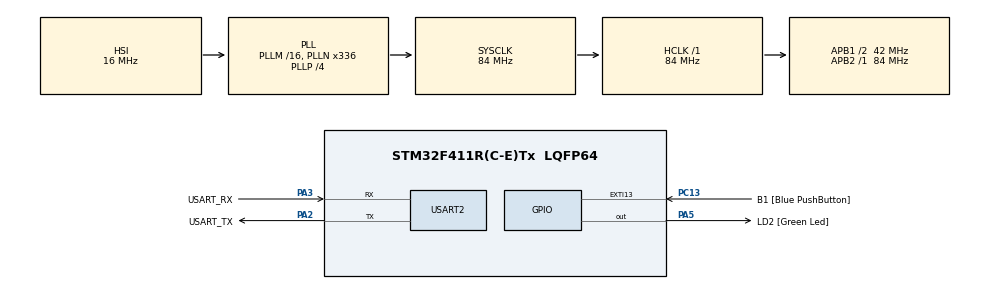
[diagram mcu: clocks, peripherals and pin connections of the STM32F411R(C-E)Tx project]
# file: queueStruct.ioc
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FREERTOS.Tasks01=defaultTask,0,128,StartDefaultTask,Default,NULL
Mcu.Family=STM32F4
Mcu.Name=STM32F411R(C-E)Tx
Mcu.Package=LQFP64
NVIC.PriorityGroup=NVIC_PRIORITYGROUP_4
NVIC.TIM1_UP_TIM10_IRQn=true\:0\:0\:false\:false\:true\:false\:false
NVIC.TimeBase=TIM1_UP_TIM10_IRQn
NVIC.TimeBaseIP=TIM1
PA13.GPIO_Label=TMS
PA13.Mode=Serial_Wire
PA13.Signal=SYS_JTMS-SWDIO
PA14.GPIO_Label=TCK
PA14.Mode=Serial_Wire
PA14.Signal=SYS_JTCK-SWCLK
PA2.GPIO_Label=USART_TX
PA2.Mode=Asynchronous
PA2.Signal=USART2_TX
PA3.GPIO_Label=USART_RX
PA3.Mode=Asynchronous
PA3.Signal=USART2_RX
PA5.GPIO_Label=LD2 [Green Led]
PA5.Signal=GPIO_Output
PB3.Signal=SYS_JTDO-SWO
PC13-ANTI_TAMP.GPIO_Label=B1 [Blue PushButton]
PC13-ANTI_TAMP.GPIO_ModeDefaultEXTI=GPIO_MODE_IT_FALLING
PC13-ANTI_TAMP.Signal=GPXTI13
PC14-OSC32_IN.Mode=LSE-External-Oscillator
PC14-OSC32_IN.Signal=RCC_OSC32_IN
PC15-OSC32_OUT.Mode=LSE-External-Oscillator
PC15-OSC32_OUT.Signal=RCC_OSC32_OUT
PH0\ -\ OSC_IN.Mode=HSE-External-Clock-Source
PH0\ -\ OSC_IN.Signal=RCC_OSC_IN
PH1\ -\ OSC_OUT.Mode=HSE-External-Clock-Source
PH1\ -\ OSC_OUT.Signal=RCC_OSC_OUT
ProjectManager.HeapSize=0x200
ProjectManager.StackSize=0x400
ProjectManager.TargetToolchain=SW4STM32
RCC.48MHZClocksFreq_Value=84000000
RCC.AHBFreq_Value=84000000
RCC.APB1CLKDivider=RCC_HCLK_DIV2
RCC.APB1Freq_Value=42000000
RCC.APB1TimFreq_Value=84000000
RCC.APB2Freq_Value=84000000
RCC.APB2TimFreq_Value=84000000
RCC.CortexFreq_Value=84000000
RCC.FLatency-AdvancedSettings=FLASH_LATENCY_2
RCC.HCLKFreq_Value=84000000
RCC.HSE_VALUE=8000000
RCC.HSI_VALUE=16000000
RCC.PLLN=336
RCC.PLLP=RCC_PLLP_DIV4
RCC.SYSCLKFreq_VALUE=84000000
RCC.SYSCLKSource=RCC_SYSCLKSOURCE_PLLCLK
RCC.VCOOutputFreq_Value=336000000
USART2.VirtualMode=VM_ASYNC
VP_FREERTOS_VS_ENABLE.Mode=Enabled
VP_SYS_VS_tim1.Mode=TIM1
board=NUCLEO-F411RE

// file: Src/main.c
/**
  ******************************************************************************
  * @file           : main.c
  * @brief          : Main program body
  ******************************************************************************
  * This notice applies to any and all portions of this file
  * that are not between comment pairs USER CODE BEGIN and
  * USER CODE END. Other portions of this file, whether
  * inserted by the user or by software development tools
  * are owned by their respective copyright owners.
  *
  * Copyright (c) 2018 STMicroelectronics International N.V.
  * All rights reserved.
  *
  * Redistribution and use in source and binary forms, with or without
  * modification, are permitted, provided that the following conditions are met:
  *
  * 1. Redistribution of source code must retain the above copyright notice,
  *    this list of conditions and the following disclaimer.
  * 2. Redistributions in binary form must reproduce the above copyright notice,
  *    this list of conditions and the following disclaimer in the documentation
  *    and/or other materials provided with the distribution.
  * 3. Neither the name of STMicroelectronics nor the names of other
  *    contributors to this software may be used to endorse or promote products
  *    derived from this software without specific written permission.
  * 4. This software, including modifications and/or derivative works of this
  *    software, must execute solely and exclusively on microcontroller or
  *    microprocessor devices manufactured by or for STMicroelectronics.
  * 5. Redistribution and use of this software other than as permitted under
  *    this license is void and will automatically terminate your rights under
  *    this license.
  *
  * THIS SOFTWARE IS PROVIDED BY STMICROELECTRONICS AND CONTRIBUTORS "AS IS"
  * AND ANY EXPRESS, IMPLIED OR STATUTORY WARRANTIES, INCLUDING, BUT NOT
  * LIMITED TO, THE IMPLIED WARRANTIES OF MERCHANTABILITY, FITNESS FOR A
  * PARTICULAR PURPOSE AND NON-INFRINGEMENT OF THIRD PARTY INTELLECTUAL PROPERTY
  * RIGHTS ARE DISCLAIMED TO THE FULLEST EXTENT PERMITTED BY LAW. IN NO EVENT
  * SHALL STMICROELECTRONICS OR CONTRIBUTORS BE LIABLE FOR ANY DIRECT, INDIRECT,
  * INCIDENTAL, SPECIAL, EXEMPLARY, OR CONSEQUENTIAL DAMAGES (INCLUDING, BUT NOT
  * LIMITED TO, PROCUREMENT OF SUBSTITUTE GOODS OR SERVICES; LOSS OF USE, DATA,
  * OR PROFITS; OR BUSINESS INTERRUPTION) HOWEVER CAUSED AND ON ANY THEORY OF
  * LIABILITY, WHETHER IN CONTRACT, STRICT LIABILITY, OR TORT (INCLUDING
  * NEGLIGENCE OR OTHERWISE) ARISING IN ANY WAY OUT OF THE USE OF THIS SOFTWARE,
  * EVEN IF ADVISED OF THE POSSIBILITY OF SUCH DAMAGE.
  *
  ******************************************************************************
  */
#include "main.h"
#include "stm32f4xx_hal.h"
#include "cmsis_os.h"

/* USER CODE BEGIN Includes */
#include "IL_debug.h"
#include <string.h>
/* USER CODE END Includes */

UART_HandleTypeDef huart2;

osThreadId defaultTaskHandle;

/* USER CODE BEGIN PV */
/* Private variables ---------------------------------------------------------*/

/* USER CODE END PV */

void SystemClock_Config(void);
static void MX_GPIO_Init(void);
static void MX_USART2_UART_Init(void);
void StartDefaultTask(void const * argument);

/* USER CODE BEGIN PFP */
/* Private function prototypes -----------------------------------------------*/

/* USER CODE END PFP */

/* USER CODE BEGIN 0 */
typedef struct {
	uint8_t ucValue;
	uint8_t ucSource;
}xData;

static const xData xStructsToSend [ 2 ] =
{
		{100, 1},
		{200, 2}
};

xQueueHandle xQueue;

void receiver (void * arg);
void sender (void * arg);
/* USER CODE END 0 */

int main(void)
{

  /* MCU Configuration----------------------------------------------------------*/

  /* Reset of all peripherals, Initializes the Flash interface and the Systick. */
  HAL_Init();

  /* Configure the system clock */
  SystemClock_Config();

  /* Initialize all configured peripherals */
  MX_GPIO_Init();
  MX_USART2_UART_Init();

  /* Create the thread(s) */
  /* definition and creation of defaultTask */
  osThreadDef(defaultTask, StartDefaultTask, osPriorityNormal, 0, 128);
  defaultTaskHandle = osThreadCreate(osThread(defaultTask), NULL);

  /* USER CODE BEGIN RTOS_QUEUES */
  /* add queues, ... */
  xQueue = xQueueCreate(3, sizeof(xData));
  if( xQueue != NULL)
  {
	  xTaskCreate(sender, "Send1", 256, &(xStructsToSend [ 0 ] ), 2, NULL);
	  xTaskCreate(sender, "Send2", 256, &(xStructsToSend [ 1 ] ), 2, NULL);
	  xTaskCreate(receiver, "Receiver", 256, NULL, 1, NULL);
  } else
  {
	  char * err = " Error \n";
	  _write(err, strlen(err));
  }

  /* USER CODE END RTOS_QUEUES */

  /* Start scheduler */
  osKernelStart();

  /* We should never get here as control is now taken by the scheduler */

  /* Infinite loop */
  while (1)
  {

  }

}

void SystemClock_Config(void)
{

  RCC_OscInitTypeDef RCC_OscInitStruct;
  RCC_ClkInitTypeDef RCC_ClkInitStruct;

    /**Configure the main internal regulator output voltage
    */
  __HAL_RCC_PWR_CLK_ENABLE();

  __HAL_PWR_VOLTAGESCALING_CONFIG(PWR_REGULATOR_VOLTAGE_SCALE1);

    /**Initializes the CPU, AHB and APB busses clocks
    */
  RCC_OscInitStruct.OscillatorType = RCC_OSCILLATORTYPE_HSI;
  RCC_OscInitStruct.HSIState = RCC_HSI_ON;
  RCC_OscInitStruct.HSICalibrationValue = 16;
  RCC_OscInitStruct.PLL.PLLState = RCC_PLL_ON;
  RCC_OscInitStruct.PLL.PLLSource = RCC_PLLSOURCE_HSI;
  RCC_OscInitStruct.PLL.PLLM = 16;
  RCC_OscInitStruct.PLL.PLLN = 336;
  RCC_OscInitStruct.PLL.PLLP = RCC_PLLP_DIV4;
  RCC_OscInitStruct.PLL.PLLQ = 4;
  if (HAL_RCC_OscConfig(&RCC_OscInitStruct) != HAL_OK)
  {
    _Error_Handler(__FILE__, __LINE__);
  }

    /**Initializes the CPU, AHB and APB busses clocks
    */
  RCC_ClkInitStruct.ClockType = RCC_CLOCKTYPE_HCLK|RCC_CLOCKTYPE_SYSCLK
                              |RCC_CLOCKTYPE_PCLK1|RCC_CLOCKTYPE_PCLK2;
  RCC_ClkInitStruct.SYSCLKSource = RCC_SYSCLKSOURCE_PLLCLK;
  RCC_ClkInitStruct.AHBCLKDivider = RCC_SYSCLK_DIV1;
  RCC_ClkInitStruct.APB1CLKDivider = RCC_HCLK_DIV2;
  RCC_ClkInitStruct.APB2CLKDivider = RCC_HCLK_DIV1;

  if (HAL_RCC_ClockConfig(&RCC_ClkInitStruct, FLASH_LATENCY_2) != HAL_OK)
  {
    _Error_Handler(__FILE__, __LINE__);
  }

    /**Configure the Systick interrupt time
    */
  HAL_SYSTICK_Config(HAL_RCC_GetHCLKFreq()/1000);

    /**Configure the Systick
    */
  HAL_SYSTICK_CLKSourceConfig(SYSTICK_CLKSOURCE_HCLK);

  /* SysTick_IRQn interrupt configuration */
  HAL_NVIC_SetPriority(SysTick_IRQn, 15, 0);
}

/* USART2 init function */
static void MX_USART2_UART_Init(void)
{

  huart2.Instance = USART2;
  huart2.Init.BaudRate = 115200;
  huart2.Init.WordLength = UART_WORDLENGTH_8B;
  huart2.Init.StopBits = UART_STOPBITS_1;
  huart2.Init.Parity = UART_PARITY_NONE;
  huart2.Init.Mode = UART_MODE_TX_RX;
  huart2.Init.HwFlowCtl = UART_HWCONTROL_NONE;
  huart2.Init.OverSampling = UART_OVERSAMPLING_16;
  if (HAL_UART_Init(&huart2) != HAL_OK)
  {
    _Error_Handler(__FILE__, __LINE__);
  }

}

/** Configure pins as
        * Analog
        * Input
        * Output
        * EVENT_OUT
        * EXTI
*/
static void MX_GPIO_Init(void)
{

  GPIO_InitTypeDef GPIO_InitStruct;

  /* GPIO Ports Clock Enable */
  __HAL_RCC_GPIOC_CLK_ENABLE();
  __HAL_RCC_GPIOH_CLK_ENABLE();
  __HAL_RCC_GPIOA_CLK_ENABLE();
  __HAL_RCC_GPIOB_CLK_ENABLE();

  /*Configure GPIO pin Output Level */
  HAL_GPIO_WritePin(LD2_GPIO_Port, LD2_Pin, GPIO_PIN_RESET);

  /*Configure GPIO pin : B1_Pin */
  GPIO_InitStruct.Pin = B1_Pin;
  GPIO_InitStruct.Mode = GPIO_MODE_IT_FALLING;
  GPIO_InitStruct.Pull = GPIO_NOPULL;
  HAL_GPIO_Init(B1_GPIO_Port, &GPIO_InitStruct);

  /*Configure GPIO pin : LD2_Pin */
  GPIO_InitStruct.Pin = LD2_Pin;
  GPIO_InitStruct.Mode = GPIO_MODE_OUTPUT_PP;
  GPIO_InitStruct.Pull = GPIO_NOPULL;
  GPIO_InitStruct.Speed = GPIO_SPEED_FREQ_LOW;
  HAL_GPIO_Init(LD2_GPIO_Port, &GPIO_InitStruct);

}

/* USER CODE BEGIN 4 */
void receiver (void * arg)
{
	portBASE_TYPE xStat;
	xData received;
	for(;;)
	{
		if(uxQueueMessagesWaiting( xQueue ) != 3)
		{
			char * str = "Queue should be full\n";
			_write(str, strlen(str));
		}
		xStat = xQueueReceive(xQueue, &received, 0);

		if( xStat == pdPASS)
		{
			if(received.ucSource == 1)
			{
				char * str = "Message from sender 1\n";
				_write(str, strlen(str));
			}else if(received.ucSource == 2)
			{
				char * str = "Message from sender 2\n";
				_write(str, strlen(str));
			}else
			{
				char * str = "Error !!! :D \n";
				_write(str, strlen(str));
			}
		}else
		{
			char * str = "Could not read the queue\n";
			_write(str, strlen(str));
		}
	}
}
void sender (void * arg)
{
	portBASE_TYPE xStatus;

	for(;;)
	{
		xStatus = xQueueSendToBack(xQueue, arg, 100);
		if( xStatus != pdPASS)
		{
			char * str = "Couldn not send to the queue";
			_write(str, strlen(str));
		}
		taskYIELD();
	}
}
/* USER CODE END 4 */

/* StartDefaultTask function */
void StartDefaultTask(void const * argument)
{

  for(;;)
  {
    osDelay(1);
  }
}

void HAL_TIM_PeriodElapsedCallback(TIM_HandleTypeDef *htim)
{
  if (htim->Instance == TIM1) {
    HAL_IncTick();
  }
}

void _Error_Handler(char *file, int line)
{
  while(1)
  {
  }
}

/************************ (C) COPYRIGHT STMicroelectronics *****END OF FILE****/
